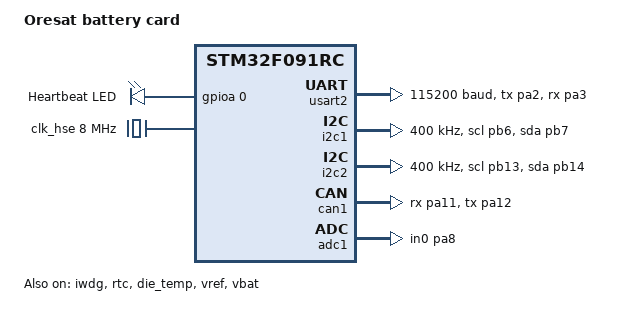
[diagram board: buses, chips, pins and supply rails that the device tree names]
/*
 * Copyright (c) 2017 Bobby Noelte
 *
 * SPDX-License-Identifier: Apache-2.0
 */

/dts-v1/;
#include <st/f0/stm32f091Xc.dtsi>
#include <st/f0/stm32f091r(b-c)tx-pinctrl.dtsi>
#include "arduino_r3_connector.dtsi"
#include "st_morpho_connector.dtsi"
#include <zephyr/dt-bindings/input/input-event-codes.h>

/ {
	model = "Oresat battery card";
	compatible = "st,stm32f091rc-nucleo";

	chosen {
		zephyr,console = &usart2;
		zephyr,shell-uart = &usart2;
		zephyr,sram = &sram0;
		zephyr,flash = &flash0;
		zephyr,canbus = &can1;
	};

	leds: leds {
		compatible = "gpio-leds";

		amber_led_1: led_1 {
			gpios = <&gpioa 0 GPIO_ACTIVE_HIGH>;
			label = "Heartbeat LED";
		};
	};

	gpio_keys {
		compatible = "gpio-keys";

		user_button: button {
			label = "User";
			gpios = <&gpioc 13 GPIO_ACTIVE_LOW>;
			zephyr,code = <INPUT_KEY_0>;
			status = "disabled";
		};
	};

	pwmleds: pwmleds {
		compatible = "pwm-leds";
		status = "disabled";

		amber_pwm_led: amber_pwm_led {
			pwms = <&pwm2 1 PWM_MSEC(20) PWM_POLARITY_NORMAL>;
		};
	};

	aliases {
		led0 = &amber_led_1;
		sw0 = &user_button;
		pwm-led0 = &amber_pwm_led;
		watchdog0 = &iwdg;
		die-temp0 = &die_temp;
		volt-sensor0 = &vref;
		volt-sensor1 = &vbat;
	};
};

&clk_hse {
	hse-bypass;
	clock-frequency = <DT_FREQ_M(8)>; /* STLink 8MHz clock */
	status = "okay";
};

&clk_lsi {
	status = "okay";
};

&pll {
	prediv = <1>;
	mul = <6>;
	clocks = <&clk_hse>;
	status = "okay";
};

&rcc {
	clocks = <&pll>;
	clock-frequency = <DT_FREQ_M(48)>;
	ahb-prescaler = <1>;
	apb1-prescaler = <1>;
};

&usart1 {
	pinctrl-0 = <&usart1_tx_pb6 &usart1_rx_pb7>;
	pinctrl-names = "default";
	current-speed = <115200>;
   status = "disabled";
};

&usart2 {
	pinctrl-0 = <&usart2_tx_pa2 &usart2_rx_pa3>;
	pinctrl-names = "default";
	current-speed = <115200>;
	status = "okay";
};

&i2c1 {
	pinctrl-0 = <&i2c1_scl_pb6 &i2c1_sda_pb7>;
	pinctrl-names = "default";
	status = "okay";
	clock-frequency = <I2C_BITRATE_FAST>;
};

&i2c2 {
	/* Pin conflict with can1. Enable only with can1 disabled. */
	pinctrl-0 = <&i2c2_scl_pb13 &i2c2_sda_pb14>;
	pinctrl-names = "default";
	status = "okay";
	clock-frequency = <I2C_BITRATE_FAST>;
};

&can1 {
	pinctrl-0 = <&can_rx_pa11 &can_tx_pa12>;
	pinctrl-names = "default";
	status = "okay";
};

&spi1 {
	pinctrl-0 = <&spi1_sck_pa5 &spi1_miso_pa6 &spi1_mosi_pa7>;
	pinctrl-names = "default";
	status = "disabled";
};

&spi2 {
	pinctrl-0 = <&spi2_sck_pb13 &spi2_miso_pb14 &spi2_mosi_pb15>;
	pinctrl-names = "default";
	status = "disabled";
};

&iwdg {
	status = "okay";
};

&rtc {
	clocks = <&rcc STM32_CLOCK_BUS_APB1 0x10000000>,
		 <&rcc STM32_SRC_LSI RTC_SEL(2)>;
	status = "okay";
};

&flash0 {
	partitions {
		compatible = "fixed-partitions";
		#address-cells = <1>;
		#size-cells = <1>;

		/* Set 6Kb of storage at the end of the 256Kb of flash */
		storage_partition: partition@3e800 {
			label = "storage";
			reg = <0x0003e800 DT_SIZE_K(6)>;
		};
	};
};

&adc1 {
	pinctrl-0 = <&adc_in0_pa8>;
	pinctrl-names = "default";
	st,adc-clock-source = "SYNC";
	st,adc-prescaler = <2>;
	status = "okay";
};

&die_temp {
	status = "okay";
};

&dac1 {
	status = "disabled";
	pinctrl-0 = <&dac_out1_pa4>;
	pinctrl-names = "default";
};

&dma1 {
	status = "okay";
};

&timers2 {
	st,prescaler = <10000>;
	status = "disabled";

	pwm2: pwm {
		/* NOTE: disabled by default, PWM2 conflicts with SPI1 */
		pinctrl-0 = <&tim2_ch1_pa0>;
		pinctrl-names = "default";
	};
};

&vref {
	status = "okay";
};

&vbat {
	status = "okay";
};
